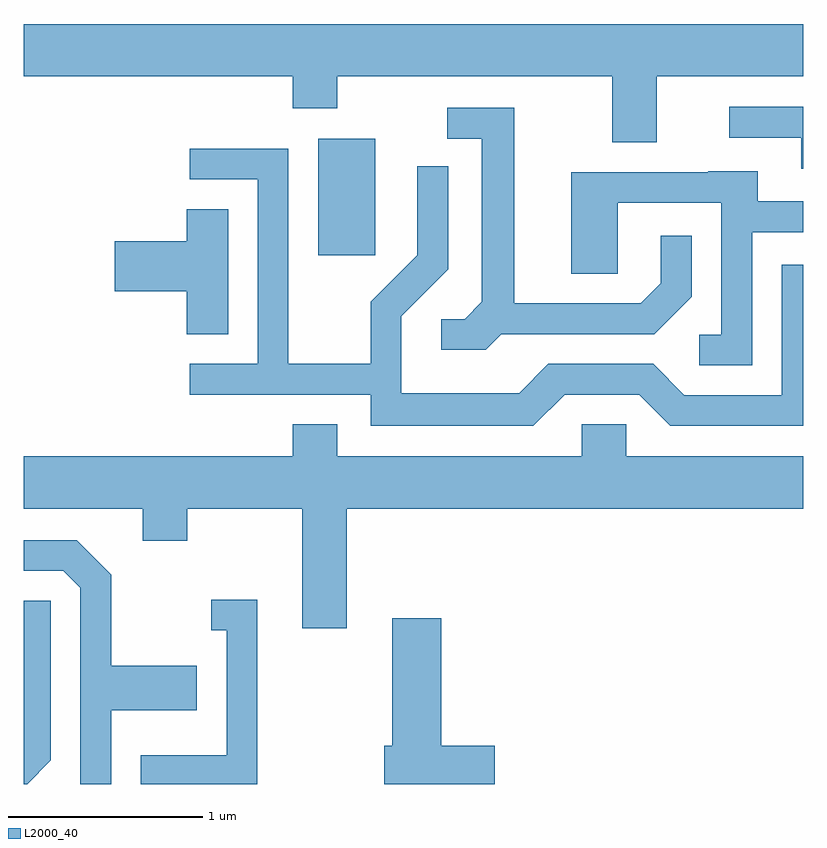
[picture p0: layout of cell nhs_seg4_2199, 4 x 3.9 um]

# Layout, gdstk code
import gdstk
lib = gdstk.Library(unit=1e-6, precision=1e-09)
def R(c, l, rs):  # rectangles x0, y0, x1, y1
    for r in rs: c.add(gdstk.rectangle(r[:2], r[2:], *l))
def P(c, l, *ps):  # polygons
    for p in ps: c.add(gdstk.Polygon(p, *l))
L2000_40 = (2000, 40)

nhs_seg4_2199 = lib.new_cell('nhs_seg4_2199')
R(nhs_seg4_2199, L2000_40, [(251.121,1302.696,251.414,1303.294)])
P(nhs_seg4_2199, L2000_40, [(252.859,1303.616),(253.611,1303.616),(253.611,1303.884),(249.611,1303.884),(249.611,1303.616),(250.991,1303.616),(250.991,1303.451),(251.219,1303.451),(251.219,1303.616),(252.631,1303.616),(252.631,1303.276),(252.859,1303.276)],
  [(253.611,1303.459),(253.233,1303.459),(253.233,1303.301),(253.601,1303.301),(253.601,1303.141),(253.611,1303.141)],
  [(252.062,1302.291),(252.847,1302.291),(253.039,1302.484),(253.039,1302.798),(252.881,1302.798),(252.881,1302.552),(252.779,1302.449),(252.129,1302.449),(252.129,1303.454),(251.783,1303.454),(251.783,1303.296),(251.961,1303.296),(251.961,1302.457),(251.874,1302.369),(251.753,1302.369),(251.753,1302.211),(251.982,1302.211)],
  [(252.387,1301.981),(252.769,1301.981),(252.929,1301.821),(253.611,1301.821),(253.611,1302.649),(253.501,1302.649),(253.501,1301.979),(253.002,1301.979),(252.842,1302.139),(252.304,1302.139),(252.154,1301.989),(251.549,1301.989),(251.549,1302.384),(251.789,1302.624),(251.789,1303.153),(251.631,1303.153),(251.631,1302.697),(251.391,1302.457),(251.391,1302.139),(250.969,1302.139),(250.969,1303.244),(250.463,1303.244),(250.463,1303.086),(250.811,1303.086),(250.811,1302.139),(250.463,1302.139),(250.463,1301.981),(251.391,1301.981),(251.391,1301.821),(252.227,1301.821)],
  [(253.349,1302.816),(253.611,1302.816),(253.611,1302.974),(253.379,1302.974),(253.379,1303.129),(253.125,1303.129),(253.125,1303.124),(252.421,1303.124),(252.421,1302.601),(252.659,1302.601),(252.659,1302.966),(253.191,1302.966),(253.191,1302.289),(253.078,1302.289),(253.078,1302.131),(253.349,1302.131)],
  [(250.659,1302.934),(250.446,1302.934),(250.446,1302.769),(250.076,1302.769),(250.076,1302.511),(250.446,1302.511),(250.446,1302.291),(250.659,1302.291)],
  [(251.269,1301.396),(253.611,1301.396),(253.611,1301.664),(252.704,1301.664),(252.704,1301.829),(252.476,1301.829),(252.476,1301.664),(251.219,1301.664),(251.219,1301.829),(250.991,1301.829),(250.991,1301.664),(249.611,1301.664),(249.611,1301.396),(250.221,1301.396),(250.221,1301.231),(250.449,1301.231),(250.449,1301.396),(251.041,1301.396),(251.041,1300.781),(251.269,1300.781)],
  [(250.059,1300.361),(250.499,1300.361),(250.499,1300.589),(250.059,1300.589),(250.059,1301.057),(249.882,1301.234),(249.611,1301.234),(249.611,1301.076),(249.814,1301.076),(249.901,1300.989),(249.901,1299.982),(250.059,1299.982)],
  [(250.809,1300.929),(250.573,1300.929),(250.573,1300.771),(250.651,1300.771),(250.651,1300.129),(250.211,1300.129),(250.211,1299.982),(250.809,1299.982)],
  [(249.749,1300.104),(249.749,1300.924),(249.611,1300.924),(249.611,1299.982),(249.628,1299.982)],
  [(252.029,1300.179),(251.754,1300.179),(251.754,1300.834),(251.501,1300.834),(251.501,1300.179),(251.461,1300.179),(251.461,1299.982),(252.029,1299.982)])

lib.write_gds('nhs_seg4_2199.gds')
